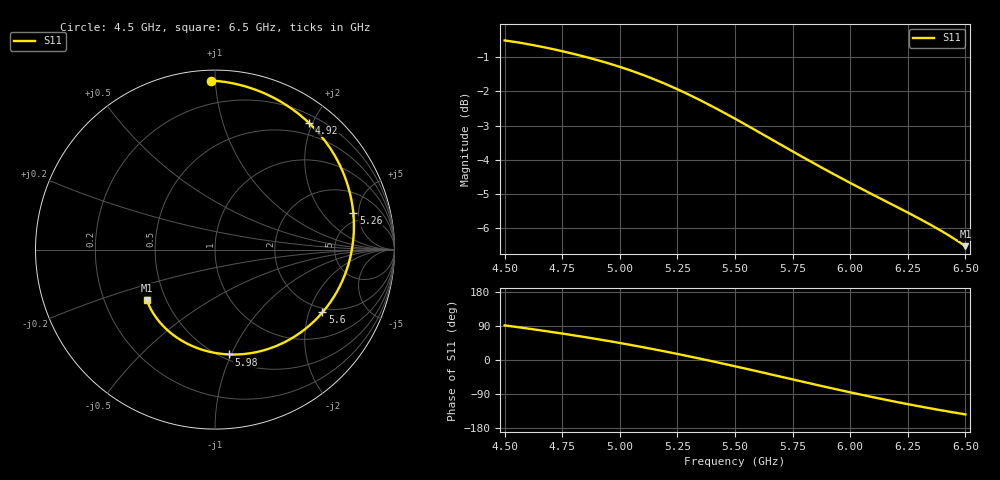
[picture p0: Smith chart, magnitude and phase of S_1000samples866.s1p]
! TOUCHSTONE file generated by CST MICROWAVE STUDIO
! Date and time: Sat Oct 29 15:40:04 2022
! Project name: L.cst
! Parameters = {Di=1.27; Epsilon_r=1.56; InnerDiameter=1.27; Length=2; Lf=10; Lg=60; OuterConductorThickness=0.2921; OuterDiameter=3.6; Wf=3; Wp=41.2; de=1.5; df=6.8; g=0.8; gx=4.41966; gy=3.6058; h=2.34; hf=1.524; px=13.8001; py=8.13749; w=9.7; wx=9.38042; wy=4.53169}
! Header version: 2018
! Port assignment regex: !\s*Touchstone port\s*([0-9]+)\s*=\s*(CST MWS port|CST DS port)\s*([0-9]+|Zmin|Zmax)\s*\(\"(.*)\"\)(\s*mode\s*([0-9]+))?.*
! Touchstone port assignment:
! Touchstone port 1 = CST MWS port 1 ("")
# GHz S DB R 50
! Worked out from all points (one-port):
!   101 points, 4.5 GHz to 6.5 GHz, reference 50 ohm
!   lowest |S11| = -6.5 dB at 6.5 GHz (marker M1), VSWR 2.79, Z = 19.6 - j14.2 ohm
!   |S11| at or under -10 dB: nowhere
!   S11 on the Smith chart (normalised r, x): 4.5 GHz: 0.06, +0.97; 4.92 GHz: 0.32, +1.95; 5.26 GHz: 3.90, +4.32; 5.6 GHz: 1.83, -2.47; 5.98 GHz: 0.55, -0.98; 6.5 GHz: 0.39, -0.28
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4.5  -0.52 91.4
4.58  -0.60 84.8
4.64  -0.68 79.6
4.76  -0.85 68.8
4.84  -0.98 61.2
4.92  -1.13 53.3
5  -1.29 44.9
5.08  -1.47 36.1
5.14  -1.63 29.2
5.2  -1.79 22.1
5.26  -1.97 14.7
5.32  -2.17 7.2
5.38  -2.37 -0.6
5.44  -2.58 -8.5
5.5  -2.80 -16.6
5.6  -3.18 -30.3
5.68  -3.49 -41.4
5.76  -3.79 -52.6
5.86  -4.17 -66.4
5.92  -4.39 -74.6
5.98  -4.60 -82.7
6  -4.67 -85.3
6.06  -4.88 -93.1
6.12  -5.09 -100.8
6.2  -5.37 -110.6
6.26  -5.57 -117.7
6.38  -6.01 -131.1
6.5  -6.52 -143.5
